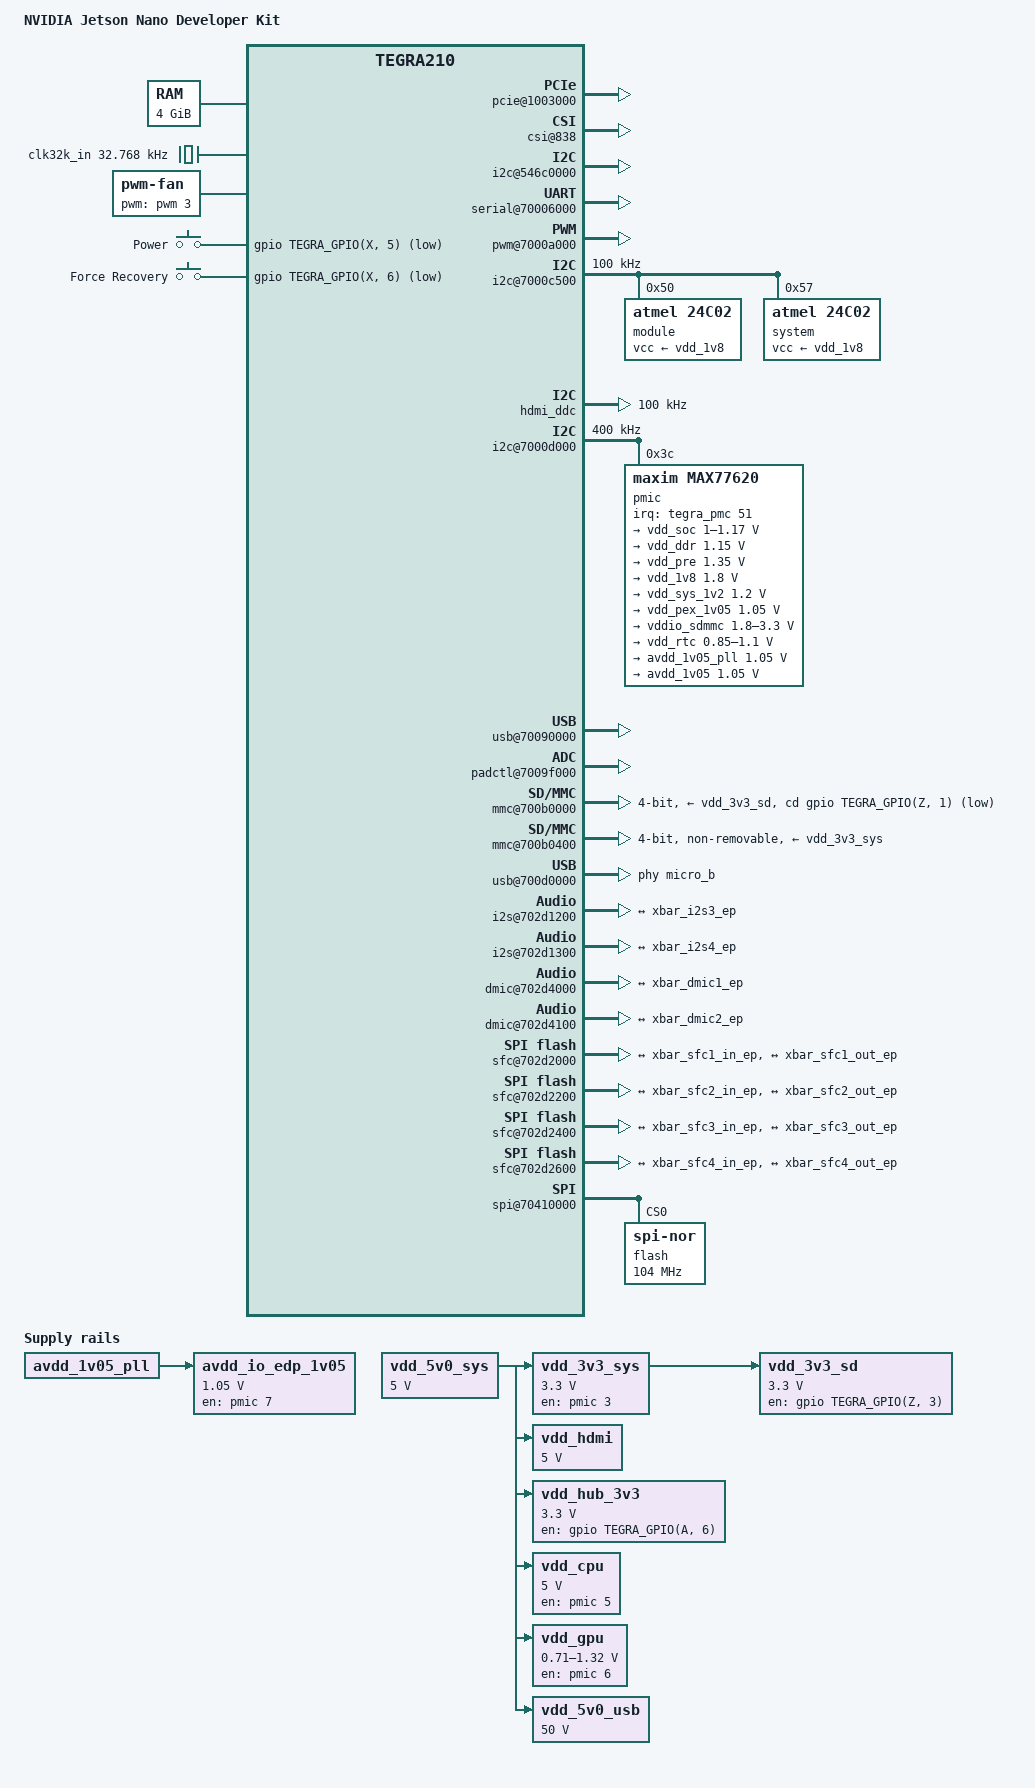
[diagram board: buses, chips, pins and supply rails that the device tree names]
// SPDX-License-Identifier: GPL-2.0
/dts-v1/;

#include <dt-bindings/input/gpio-keys.h>
#include <dt-bindings/input/linux-event-codes.h>
#include <dt-bindings/mfd/max77620.h>

#include "tegra210.dtsi"

/ {
	model = "NVIDIA Jetson Nano Developer Kit";
	compatible = "nvidia,p3450-0000", "nvidia,tegra210";

	aliases {
		ethernet = "/pcie@1003000/pci@2,0/ethernet@0,0";
		rtc0 = "/i2c@7000d000/pmic@3c";
		rtc1 = "/rtc@7000e000";
		serial0 = &uarta;
	};

	chosen {
		stdout-path = "serial0:115200n8";
	};

	memory@80000000 {
		device_type = "memory";
		reg = <0x0 0x80000000 0x1 0x0>;
	};

	pcie@1003000 {
		status = "okay";

		hvddio-pex-supply = <&vdd_1v8>;
		dvddio-pex-supply = <&vdd_pex_1v05>;
		vddio-pex-ctl-supply = <&vdd_1v8>;

		pci@1,0 {
			phys = <&{/padctl@7009f000/pads/pcie/lanes/pcie-1}>,
			       <&{/padctl@7009f000/pads/pcie/lanes/pcie-2}>,
			       <&{/padctl@7009f000/pads/pcie/lanes/pcie-3}>,
			       <&{/padctl@7009f000/pads/pcie/lanes/pcie-4}>;
			phy-names = "pcie-0", "pcie-1", "pcie-2", "pcie-3";
			nvidia,num-lanes = <4>;
			status = "okay";
		};

		pci@2,0 {
			phys = <&{/padctl@7009f000/pads/pcie/lanes/pcie-0}>;
			phy-names = "pcie-0";
			status = "okay";

			ethernet@0,0 {
				reg = <0x000000 0 0 0 0>;
				local-mac-address = [ 00 00 00 00 00 00 ];
			};
		};
	};

	host1x@50000000 {
		dpaux@54040000 {
			status = "okay";
		};

		vi@54080000 {
			status = "okay";

			avdd-dsi-csi-supply = <&vdd_sys_1v2>;

			csi@838 {
				status = "okay";
			};
		};

		sor@54540000 {
			status = "okay";

			avdd-io-hdmi-dp-supply = <&avdd_io_edp_1v05>;
			vdd-hdmi-dp-pll-supply = <&vdd_1v8>;

			nvidia,xbar-cfg = <2 1 0 3 4>;
			nvidia,dpaux = <&dpaux>;
		};

		sor@54580000 {
			status = "okay";

			avdd-io-hdmi-dp-supply = <&avdd_1v05>;
			vdd-hdmi-dp-pll-supply = <&vdd_1v8>;
			hdmi-supply = <&vdd_hdmi>;

			nvidia,ddc-i2c-bus = <&hdmi_ddc>;
			nvidia,hpd-gpio = <&gpio TEGRA_GPIO(CC, 1)
					   GPIO_ACTIVE_LOW>;
			nvidia,xbar-cfg = <0 1 2 3 4>;
		};

		dpaux@545c0000 {
			status = "okay";
		};

		i2c@546c0000 {
			status = "okay";
		};
	};

	gpu@57000000 {
		vdd-supply = <&vdd_gpu>;
		status = "okay";
	};

	pinmux@700008d4 {
		dvfs_pwm_active_state: dvfs_pwm_active {
			dvfs_pwm_pbb1 {
				nvidia,pins = "dvfs_pwm_pbb1";
				nvidia,tristate = <TEGRA_PIN_DISABLE>;
			};
		};

		dvfs_pwm_inactive_state: dvfs_pwm_inactive {
			dvfs_pwm_pbb1 {
				nvidia,pins = "dvfs_pwm_pbb1";
				nvidia,tristate = <TEGRA_PIN_ENABLE>;
			};
		};
	};

	/* debug port */
	serial@70006000 {
		status = "okay";
	};

	pwm@7000a000 {
		status = "okay";
	};

	i2c@7000c500 {
		status = "okay";
		clock-frequency = <100000>;

		eeprom@50 {
			compatible = "atmel,24c02";
			reg = <0x50>;

			label = "module";
			vcc-supply = <&vdd_1v8>;
			address-width = <8>;
			pagesize = <8>;
			size = <256>;
			read-only;
		};

		eeprom@57 {
			compatible = "atmel,24c02";
			reg = <0x57>;

			label = "system";
			vcc-supply = <&vdd_1v8>;
			address-width = <8>;
			pagesize = <8>;
			size = <256>;
			read-only;
		};
	};

	hdmi_ddc: i2c@7000c700 {
		status = "okay";
		clock-frequency = <100000>;
	};

	i2c@7000d000 {
		status = "okay";
		clock-frequency = <400000>;

		pmic: pmic@3c {
			compatible = "maxim,max77620";
			reg = <0x3c>;
			interrupt-parent = <&tegra_pmc>;
			interrupts = <51 IRQ_TYPE_LEVEL_LOW>;

			#interrupt-cells = <2>;
			interrupt-controller;

			#gpio-cells = <2>;
			gpio-controller;

			pinctrl-names = "default";
			pinctrl-0 = <&max77620_default>;

			max77620_default: pinmux {
				gpio0 {
					pins = "gpio0";
					function = "gpio";
				};

				gpio1 {
					pins = "gpio1";
					function = "fps-out";
					drive-push-pull = <1>;
					maxim,active-fps-source = <MAX77620_FPS_SRC_NONE>;
					maxim,active-fps-power-up-slot = <0>;
					maxim,active-fps-power-down-slot = <7>;
				};

				gpio2 {
					pins = "gpio2";
					function = "fps-out";
					drive-open-drain = <1>;
					maxim,active-fps-source = <MAX77620_FPS_SRC_0>;
					maxim,active-fps-power-up-slot = <0>;
					maxim,active-fps-power-down-slot = <7>;
				};

				gpio3 {
					pins = "gpio3";
					function = "fps-out";
					drive-open-drain = <1>;
					maxim,active-fps-source = <MAX77620_FPS_SRC_0>;
					maxim,active-fps-power-up-slot = <4>;
					maxim,active-fps-power-down-slot = <3>;
				};

				gpio4 {
					pins = "gpio4";
					function = "32k-out1";
				};

				gpio5_6_7 {
					pins = "gpio5", "gpio6", "gpio7";
					function = "gpio";
					drive-push-pull = <1>;
				};
			};

			fps {
				fps0 {
					maxim,fps-event-source = <MAX77620_FPS_EVENT_SRC_EN0>;
					maxim,suspend-fps-time-period-us = <5120>;
				};

				fps1 {
					maxim,fps-event-source = <MAX77620_FPS_EVENT_SRC_EN1>;
					maxim,suspend-fps-time-period-us = <5120>;
				};

				fps2 {
					maxim,fps-event-source = <MAX77620_FPS_EVENT_SRC_EN0>;
				};
			};

			regulators {
				in-ldo0-1-supply = <&vdd_pre>;
				in-ldo2-supply = <&vdd_3v3_sys>;
				in-ldo3-5-supply = <&vdd_1v8>;
				in-ldo4-6-supply = <&vdd_5v0_sys>;
				in-ldo7-8-supply = <&vdd_pre>;
				in-sd0-supply = <&vdd_5v0_sys>;
				in-sd1-supply = <&vdd_5v0_sys>;
				in-sd2-supply = <&vdd_5v0_sys>;
				in-sd3-supply = <&vdd_5v0_sys>;

				vdd_soc: sd0 {
					regulator-name = "VDD_SOC";
					regulator-min-microvolt = <1000000>;
					regulator-max-microvolt = <1170000>;
					regulator-enable-ramp-delay = <146>;
					regulator-ramp-delay = <27500>;
					regulator-ramp-delay-scale = <300>;
					regulator-always-on;
					regulator-boot-on;

					maxim,active-fps-source = <MAX77620_FPS_SRC_1>;
					maxim,active-fps-power-up-slot = <1>;
					maxim,active-fps-power-down-slot = <6>;
				};

				vdd_ddr: sd1 {
					regulator-name = "VDD_DDR_1V1_PMIC";
					regulator-min-microvolt = <1150000>;
					regulator-max-microvolt = <1150000>;
					regulator-enable-ramp-delay = <176>;
					regulator-ramp-delay = <27500>;
					regulator-ramp-delay-scale = <300>;
					regulator-always-on;
					regulator-boot-on;

					maxim,active-fps-source = <MAX77620_FPS_SRC_0>;
					maxim,active-fps-power-up-slot = <5>;
					maxim,active-fps-power-down-slot = <2>;
				};

				vdd_pre: sd2 {
					regulator-name = "VDD_PRE_REG_1V35";
					regulator-min-microvolt = <1350000>;
					regulator-max-microvolt = <1350000>;
					regulator-enable-ramp-delay = <176>;
					regulator-ramp-delay = <27500>;
					regulator-ramp-delay-scale = <350>;
					regulator-always-on;
					regulator-boot-on;

					maxim,active-fps-source = <MAX77620_FPS_SRC_1>;
					maxim,active-fps-power-up-slot = <2>;
					maxim,active-fps-power-down-slot = <5>;
				};

				vdd_1v8: sd3 {
					regulator-name = "VDD_1V8";
					regulator-min-microvolt = <1800000>;
					regulator-max-microvolt = <1800000>;
					regulator-enable-ramp-delay = <242>;
					regulator-ramp-delay = <27500>;
					regulator-ramp-delay-scale = <360>;
					regulator-always-on;
					regulator-boot-on;

					maxim,active-fps-source = <MAX77620_FPS_SRC_0>;
					maxim,active-fps-power-up-slot = <3>;
					maxim,active-fps-power-down-slot = <4>;
				};

				vdd_sys_1v2: ldo0 {
					regulator-name = "AVDD_SYS_1V2";
					regulator-min-microvolt = <1200000>;
					regulator-max-microvolt = <1200000>;
					regulator-enable-ramp-delay = <26>;
					regulator-ramp-delay = <100000>;
					regulator-ramp-delay-scale = <200>;
					regulator-always-on;
					regulator-boot-on;

					maxim,active-fps-source = <MAX77620_FPS_SRC_NONE>;
					maxim,active-fps-power-up-slot = <0>;
					maxim,active-fps-power-down-slot = <7>;
				};

				vdd_pex_1v05: ldo1 {
					regulator-name = "VDD_PEX_1V05";
					regulator-min-microvolt = <1050000>;
					regulator-max-microvolt = <1050000>;
					regulator-enable-ramp-delay = <22>;
					regulator-ramp-delay = <100000>;
					regulator-ramp-delay-scale = <200>;

					maxim,active-fps-source = <MAX77620_FPS_SRC_NONE>;
					maxim,active-fps-power-up-slot = <0>;
					maxim,active-fps-power-down-slot = <7>;
				};

				vddio_sdmmc: ldo2 {
					regulator-name = "VDDIO_SDMMC";
					regulator-min-microvolt = <1800000>;
					regulator-max-microvolt = <3300000>;
					regulator-enable-ramp-delay = <62>;
					regulator-ramp-delay = <100000>;
					regulator-ramp-delay-scale = <200>;

					maxim,active-fps-source = <MAX77620_FPS_SRC_NONE>;
					maxim,active-fps-power-up-slot = <0>;
					maxim,active-fps-power-down-slot = <7>;
				};

				ldo3 {
					status = "disabled";
				};

				vdd_rtc: ldo4 {
					regulator-name = "VDD_RTC";
					regulator-min-microvolt = <850000>;
					regulator-max-microvolt = <1100000>;
					regulator-enable-ramp-delay = <22>;
					regulator-ramp-delay = <100000>;
					regulator-ramp-delay-scale = <200>;
					regulator-disable-active-discharge;
					regulator-always-on;
					regulator-boot-on;

					maxim,active-fps-source = <MAX77620_FPS_SRC_0>;
					maxim,active-fps-power-up-slot = <1>;
					maxim,active-fps-power-down-slot = <6>;
				};

				ldo5 {
					status = "disabled";
				};

				ldo6 {
					status = "disabled";
				};

				avdd_1v05_pll: ldo7 {
					regulator-name = "AVDD_1V05_PLL";
					regulator-min-microvolt = <1050000>;
					regulator-max-microvolt = <1050000>;
					regulator-enable-ramp-delay = <24>;
					regulator-ramp-delay = <100000>;
					regulator-ramp-delay-scale = <200>;

					maxim,active-fps-source = <MAX77620_FPS_SRC_1>;
					maxim,active-fps-power-up-slot = <3>;
					maxim,active-fps-power-down-slot = <4>;
				};

				avdd_1v05: ldo8 {
					regulator-name = "AVDD_SATA_HDMI_DP_1V05";
					regulator-min-microvolt = <1050000>;
					regulator-max-microvolt = <1050000>;
					regulator-enable-ramp-delay = <22>;
					regulator-ramp-delay = <100000>;
					regulator-ramp-delay-scale = <200>;

					maxim,active-fps-source = <MAX77620_FPS_SRC_1>;
					maxim,active-fps-power-up-slot = <6>;
					maxim,active-fps-power-down-slot = <1>;
				};
			};
		};
	};

	pmc@7000e400 {
		nvidia,invert-interrupt;
		nvidia,suspend-mode = <0>;
		nvidia,cpu-pwr-good-time = <0>;
		nvidia,cpu-pwr-off-time = <0>;
		nvidia,core-pwr-good-time = <4587 3876>;
		nvidia,core-pwr-off-time = <39065>;
		nvidia,core-power-req-active-high;
		nvidia,sys-clock-req-active-high;
	};

	hda@70030000 {
		nvidia,model = "NVIDIA Jetson Nano HDA";

		status = "okay";
	};

	usb@70090000 {
		phys = <&{/padctl@7009f000/pads/usb2/lanes/usb2-0}>,
		       <&{/padctl@7009f000/pads/usb2/lanes/usb2-1}>,
		       <&{/padctl@7009f000/pads/usb2/lanes/usb2-2}>,
		       <&{/padctl@7009f000/pads/pcie/lanes/pcie-6}>;
		phy-names = "usb2-0", "usb2-1", "usb2-2", "usb3-0";

		avdd-usb-supply = <&vdd_3v3_sys>;
		dvddio-pex-supply = <&vdd_pex_1v05>;
		hvddio-pex-supply = <&vdd_1v8>;

		status = "okay";
	};

	padctl@7009f000 {
		status = "okay";

		avdd-pll-utmip-supply = <&vdd_1v8>;
		avdd-pll-uerefe-supply = <&vdd_pex_1v05>;
		dvdd-pex-pll-supply = <&vdd_pex_1v05>;
		hvdd-pex-pll-e-supply = <&vdd_1v8>;

		pads {
			usb2 {
				status = "okay";

				lanes {
					micro_b: usb2-0 {
						nvidia,function = "xusb";
						status = "okay";
					};

					usb2-1 {
						nvidia,function = "xusb";
						status = "okay";
					};

					usb2-2 {
						nvidia,function = "xusb";
						status = "okay";
					};
				};
			};

			pcie {
				status = "okay";

				lanes {
					pcie-0 {
						nvidia,function = "pcie-x1";
						status = "okay";
					};

					pcie-1 {
						nvidia,function = "pcie-x4";
						status = "okay";
					};

					pcie-2 {
						nvidia,function = "pcie-x4";
						status = "okay";
					};

					pcie-3 {
						nvidia,function = "pcie-x4";
						status = "okay";
					};

					pcie-4 {
						nvidia,function = "pcie-x4";
						status = "okay";
					};

					pcie-5 {
						nvidia,function = "usb3-ss";
						status = "okay";
					};

					pcie-6 {
						nvidia,function = "usb3-ss";
						status = "okay";
					};
				};
			};
		};

		ports {
			usb2-0 {
				status = "okay";
				mode = "peripheral";
				usb-role-switch;

				vbus-supply = <&vdd_5v0_usb>;

				connector {
					compatible = "gpio-usb-b-connector",
						     "usb-b-connector";
					label = "micro-USB";
					type = "micro";
					vbus-gpios = <&gpio TEGRA_GPIO(CC, 4)
						      GPIO_ACTIVE_LOW>;
				};
			};

			usb2-1 {
				status = "okay";
				mode = "host";
			};

			usb2-2 {
				status = "okay";
				mode = "host";
			};

			usb3-0 {
				status = "okay";
				nvidia,usb2-companion = <1>;
				vbus-supply = <&vdd_hub_3v3>;
			};
		};
	};

	mmc@700b0000 {
		status = "okay";
		bus-width = <4>;

		cd-gpios = <&gpio TEGRA_GPIO(Z, 1) GPIO_ACTIVE_LOW>;
		disable-wp;

		vqmmc-supply = <&vddio_sdmmc>;
		vmmc-supply = <&vdd_3v3_sd>;
	};

	mmc@700b0400 {
		status = "okay";
		bus-width = <4>;

		vqmmc-supply = <&vdd_1v8>;
		vmmc-supply = <&vdd_3v3_sys>;

		non-removable;
		cap-sdio-irq;
		keep-power-in-suspend;
		wakeup-source;
	};

	usb@700d0000 {
		status = "okay";
		phys = <&micro_b>;
		phy-names = "usb2-0";
		avddio-usb-supply = <&vdd_3v3_sys>;
		hvdd-usb-supply = <&vdd_1v8>;
	};

	clock@70110000 {
		status = "okay";

		nvidia,cf = <6>;
		nvidia,ci = <0>;
		nvidia,cg = <2>;
		nvidia,droop-ctrl = <0x00000f00>;
		nvidia,force-mode = <1>;
		nvidia,sample-rate = <25000>;

		nvidia,pwm-min-microvolts = <708000>;
		nvidia,pwm-period-nanoseconds = <2500>; /* 2.5us */
		nvidia,pwm-to-pmic;
		nvidia,pwm-tristate-microvolts = <1000000>;
		nvidia,pwm-voltage-step-microvolts = <19200>;

		pinctrl-names = "dvfs_pwm_enable", "dvfs_pwm_disable";
		pinctrl-0 = <&dvfs_pwm_active_state>;
		pinctrl-1 = <&dvfs_pwm_inactive_state>;
	};

	aconnect@702c0000 {
		status = "okay";

		dma-controller@702e2000 {
			status = "okay";
		};

		interrupt-controller@702f9000 {
			status = "okay";
		};

		ahub@702d0800 {
			status = "okay";

			admaif@702d0000 {
				status = "okay";
			};

			i2s@702d1200 {
				status = "okay";

				ports {
					#address-cells = <1>;
					#size-cells = <0>;

					port@0 {
						reg = <0>;

						i2s3_cif_ep: endpoint {
							remote-endpoint = <&xbar_i2s3_ep>;
						};
					};

					i2s3_port: port@1 {
						reg = <1>;

						i2s3_dap_ep: endpoint {
							dai-format = "i2s";
							/* Placeholder for external Codec */
						};
					};
				};
			};

			i2s@702d1300 {
				status = "okay";

				ports {
					#address-cells = <1>;
					#size-cells = <0>;

					port@0 {
						reg = <0>;

						i2s4_cif_ep: endpoint {
							remote-endpoint = <&xbar_i2s4_ep>;
						};
					};

					i2s4_port: port@1 {
						reg = <1>;

						i2s4_dap_ep: endpoint {
							dai-format = "i2s";
							/* Placeholder for external Codec */
						};
					};
				};
			};

			dmic@702d4000 {
				status = "okay";

				ports {
					#address-cells = <1>;
					#size-cells = <0>;

					port@0 {
						reg = <0>;

						dmic1_cif_ep: endpoint {
							remote-endpoint = <&xbar_dmic1_ep>;
						};
					};

					dmic1_port: port@1 {
						reg = <1>;

						dmic1_dap_ep: endpoint {
							/* Placeholder for external Codec */
						};
					};
				};
			};

			dmic@702d4100 {
				status = "okay";

				ports {
					#address-cells = <1>;
					#size-cells = <0>;

					port@0 {
						reg = <0>;

						dmic2_cif_ep: endpoint {
							remote-endpoint = <&xbar_dmic2_ep>;
						};
					};

					dmic2_port: port@1 {
						reg = <1>;

						dmic2_dap_ep: endpoint {
							/* Placeholder for external Codec */
						};
					};
				};
			};

			sfc@702d2000 {
				status = "okay";

				ports {
					#address-cells = <1>;
					#size-cells = <0>;

					port@0 {
						reg = <0>;

						sfc1_cif_in_ep: endpoint {
							remote-endpoint = <&xbar_sfc1_in_ep>;
						};
					};

					sfc1_out_port: port@1 {
						reg = <1>;

						sfc1_cif_out_ep: endpoint {
							remote-endpoint = <&xbar_sfc1_out_ep>;
						};
					};
				};
			};

			sfc@702d2200 {
				status = "okay";

				ports {
					#address-cells = <1>;
					#size-cells = <0>;

					port@0 {
						reg = <0>;

						sfc2_cif_in_ep: endpoint {
							remote-endpoint = <&xbar_sfc2_in_ep>;
						};
					};

					sfc2_out_port: port@1 {
						reg = <1>;

						sfc2_cif_out_ep: endpoint {
							remote-endpoint = <&xbar_sfc2_out_ep>;
						};
					};
				};
			};

			sfc@702d2400 {
				status = "okay";

				ports {
					#address-cells = <1>;
					#size-cells = <0>;

					port@0 {
						reg = <0>;

						sfc3_cif_in_ep: endpoint {
							remote-endpoint = <&xbar_sfc3_in_ep>;
						};
					};

					sfc3_out_port: port@1 {
						reg = <1>;

						sfc3_cif_out_ep: endpoint {
							remote-endpoint = <&xbar_sfc3_out_ep>;
						};
					};
				};
			};

			sfc@702d2600 {
				status = "okay";

				ports {
					#address-cells = <1>;
					#size-cells = <0>;

					port@0 {
						reg = <0>;

						sfc4_cif_in_ep: endpoint {
							remote-endpoint = <&xbar_sfc4_in_ep>;
						};
					};

					sfc4_out_port: port@1 {
						reg = <1>;

						sfc4_cif_out_ep: endpoint {
							remote-endpoint = <&xbar_sfc4_out_ep>;
						};
					};
				};
			};

			mvc@702da000 {
				status = "okay";

				ports {
					#address-cells = <1>;
					#size-cells = <0>;

					port@0 {
						reg = <0>;

						mvc1_cif_in_ep: endpoint {
							remote-endpoint = <&xbar_mvc1_in_ep>;
						};
					};

					mvc1_out_port: port@1 {
						reg = <1>;

						mvc1_cif_out_ep: endpoint {
							remote-endpoint = <&xbar_mvc1_out_ep>;
						};
					};
				};
			};

			mvc@702da200 {
				status = "okay";

				ports {
					#address-cells = <1>;
					#size-cells = <0>;

					port@0 {
						reg = <0>;

						mvc2_cif_in_ep: endpoint {
							remote-endpoint = <&xbar_mvc2_in_ep>;
						};
					};

					mvc2_out_port: port@1 {
						reg = <1>;

						mvc2_cif_out_ep: endpoint {
							remote-endpoint = <&xbar_mvc2_out_ep>;
						};
					};
				};
			};

			amx@702d3000 {
				status = "okay";

				ports {
					#address-cells = <1>;
					#size-cells = <0>;

					port@0 {
						reg = <0>;

						amx1_in1_ep: endpoint {
							remote-endpoint = <&xbar_amx1_in1_ep>;
						};
					};

					port@1 {
						reg = <1>;

						amx1_in2_ep: endpoint {
							remote-endpoint = <&xbar_amx1_in2_ep>;
						};
					};

					port@2 {
						reg = <2>;

						amx1_in3_ep: endpoint {
							remote-endpoint = <&xbar_amx1_in3_ep>;
						};
					};

					port@3 {
						reg = <3>;

						amx1_in4_ep: endpoint {
							remote-endpoint = <&xbar_amx1_in4_ep>;
						};
					};

					amx1_out_port: port@4 {
						reg = <4>;

						amx1_out_ep: endpoint {
							remote-endpoint = <&xbar_amx1_out_ep>;
						};
					};
				};
			};

			amx@702d3100 {
				status = "okay";

				ports {
					#address-cells = <1>;
					#size-cells = <0>;

					port@0 {
						reg = <0>;

						amx2_in1_ep: endpoint {
							remote-endpoint = <&xbar_amx2_in1_ep>;
						};
					};

					port@1 {
						reg = <1>;

						amx2_in2_ep: endpoint {
							remote-endpoint = <&xbar_amx2_in2_ep>;
						};
					};

					amx2_in3_port: port@2 {
						reg = <2>;

						amx2_in3_ep: endpoint {
							remote-endpoint = <&xbar_amx2_in3_ep>;
						};
					};

					amx2_in4_port: port@3 {
						reg = <3>;

						amx2_in4_ep: endpoint {
							remote-endpoint = <&xbar_amx2_in4_ep>;
						};
					};

					amx2_out_port: port@4 {
						reg = <4>;

						amx2_out_ep: endpoint {
							remote-endpoint = <&xbar_amx2_out_ep>;
						};
					};
				};
			};

			adx@702d3800 {
				status = "okay";

				ports {
					#address-cells = <1>;
					#size-cells = <0>;

					port@0 {
						reg = <0>;

						adx1_in_ep: endpoint {
							remote-endpoint = <&xbar_adx1_in_ep>;
						};
					};

					adx1_out1_port: port@1 {
						reg = <1>;

						adx1_out1_ep: endpoint {
							remote-endpoint = <&xbar_adx1_out1_ep>;
						};
					};

					adx1_out2_port: port@2 {
						reg = <2>;

						adx1_out2_ep: endpoint {
							remote-endpoint = <&xbar_adx1_out2_ep>;
						};
					};

					adx1_out3_port: port@3 {
						reg = <3>;

						adx1_out3_ep: endpoint {
							remote-endpoint = <&xbar_adx1_out3_ep>;
						};
					};

					adx1_out4_port: port@4 {
						reg = <4>;

						adx1_out4_ep: endpoint {
							remote-endpoint = <&xbar_adx1_out4_ep>;
						};
					};
				};
			};

			adx@702d3900 {
				status = "okay";

				ports {
					#address-cells = <1>;
					#size-cells = <0>;

					port@0 {
						reg = <0>;

						adx2_in_ep: endpoint {
							remote-endpoint = <&xbar_adx2_in_ep>;
						};
					};

					adx2_out1_port: port@1 {
						reg = <1>;

						adx2_out1_ep: endpoint {
							remote-endpoint = <&xbar_adx2_out1_ep>;
						};
					};

					adx2_out2_port: port@2 {
						reg = <2>;

						adx2_out2_ep: endpoint {
							remote-endpoint = <&xbar_adx2_out2_ep>;
						};
					};

					adx2_out3_port: port@3 {
						reg = <3>;

						adx2_out3_ep: endpoint {
							remote-endpoint = <&xbar_adx2_out3_ep>;
						};
					};

					adx2_out4_port: port@4 {
						reg = <4>;

						adx2_out4_ep: endpoint {
							remote-endpoint = <&xbar_adx2_out4_ep>;
						};
					};
				};
			};

			amixer@702dbb00 {
				status = "okay";

				ports {
					#address-cells = <1>;
					#size-cells = <0>;

					port@0 {
						reg = <0x0>;

						mixer_in1_ep: endpoint {
							remote-endpoint = <&xbar_mixer_in1_ep>;
						};
					};

					port@1 {
						reg = <0x1>;

						mixer_in2_ep: endpoint {
							remote-endpoint = <&xbar_mixer_in2_ep>;
						};
					};

					port@2 {
						reg = <0x2>;

						mixer_in3_ep: endpoint {
							remote-endpoint = <&xbar_mixer_in3_ep>;
						};
					};

					port@3 {
						reg = <0x3>;

						mixer_in4_ep: endpoint {
							remote-endpoint = <&xbar_mixer_in4_ep>;
						};
					};

					port@4 {
						reg = <0x4>;

						mixer_in5_ep: endpoint {
							remote-endpoint = <&xbar_mixer_in5_ep>;
						};
					};

					port@5 {
						reg = <0x5>;

						mixer_in6_ep: endpoint {
							remote-endpoint = <&xbar_mixer_in6_ep>;
						};
					};

					port@6 {
						reg = <0x6>;

						mixer_in7_ep: endpoint {
							remote-endpoint = <&xbar_mixer_in7_ep>;
						};
					};

					port@7 {
						reg = <0x7>;

						mixer_in8_ep: endpoint {
							remote-endpoint = <&xbar_mixer_in8_ep>;
						};
					};

					port@8 {
						reg = <0x8>;

						mixer_in9_ep: endpoint {
							remote-endpoint = <&xbar_mixer_in9_ep>;
						};
					};

					port@9 {
						reg = <0x9>;

						mixer_in10_ep: endpoint {
							remote-endpoint = <&xbar_mixer_in10_ep>;
						};
					};

					mixer_out1_port: port@a {
						reg = <0xa>;

						mixer_out1_ep: endpoint {
							remote-endpoint = <&xbar_mixer_out1_ep>;
						};
					};

					mixer_out2_port: port@b {
						reg = <0xb>;

						mixer_out2_ep: endpoint {
							remote-endpoint = <&xbar_mixer_out2_ep>;
						};
					};

					mixer_out3_port: port@c {
						reg = <0xc>;

						mixer_out3_ep: endpoint {
							remote-endpoint = <&xbar_mixer_out3_ep>;
						};
					};

					mixer_out4_port: port@d {
						reg = <0xd>;

						mixer_out4_ep: endpoint {
							remote-endpoint = <&xbar_mixer_out4_ep>;
						};
					};

					mixer_out5_port: port@e {
						reg = <0xe>;

						mixer_out5_ep: endpoint {
							remote-endpoint = <&xbar_mixer_out5_ep>;
						};
					};
				};
			};

			ports {
				xbar_i2s3_port: port@c {
					reg = <0xc>;

					xbar_i2s3_ep: endpoint {
						remote-endpoint = <&i2s3_cif_ep>;
					};
				};

				xbar_i2s4_port: port@d {
					reg = <0xd>;

					xbar_i2s4_ep: endpoint {
						remote-endpoint = <&i2s4_cif_ep>;
					};
				};

				xbar_dmic1_port: port@f {
					reg = <0xf>;

					xbar_dmic1_ep: endpoint {
						remote-endpoint = <&dmic1_cif_ep>;
					};
				};

				xbar_dmic2_port: port@10 {
					reg = <0x10>;

					xbar_dmic2_ep: endpoint {
						remote-endpoint = <&dmic2_cif_ep>;
					};
				};

				xbar_sfc1_in_port: port@12 {
					reg = <0x12>;

					xbar_sfc1_in_ep: endpoint {
						remote-endpoint = <&sfc1_cif_in_ep>;
					};
				};

				port@13 {
					reg = <0x13>;

					xbar_sfc1_out_ep: endpoint {
						remote-endpoint = <&sfc1_cif_out_ep>;
					};
				};

				xbar_sfc2_in_port: port@14 {
					reg = <0x14>;

					xbar_sfc2_in_ep: endpoint {
						remote-endpoint = <&sfc2_cif_in_ep>;
					};
				};

				port@15 {
					reg = <0x15>;

					xbar_sfc2_out_ep: endpoint {
						remote-endpoint = <&sfc2_cif_out_ep>;
					};
				};

				xbar_sfc3_in_port: port@16 {
					reg = <0x16>;

					xbar_sfc3_in_ep: endpoint {
						remote-endpoint = <&sfc3_cif_in_ep>;
					};
				};

				port@17 {
					reg = <0x17>;

					xbar_sfc3_out_ep: endpoint {
						remote-endpoint = <&sfc3_cif_out_ep>;
					};
				};

				xbar_sfc4_in_port: port@18 {
					reg = <0x18>;

					xbar_sfc4_in_ep: endpoint {
						remote-endpoint = <&sfc4_cif_in_ep>;
					};
				};

				port@19 {
					reg = <0x19>;

					xbar_sfc4_out_ep: endpoint {
						remote-endpoint = <&sfc4_cif_out_ep>;
					};
				};

				xbar_mvc1_in_port: port@1a {
					reg = <0x1a>;

					xbar_mvc1_in_ep: endpoint {
						remote-endpoint = <&mvc1_cif_in_ep>;
					};
				};

				port@1b {
					reg = <0x1b>;

					xbar_mvc1_out_ep: endpoint {
						remote-endpoint = <&mvc1_cif_out_ep>;
					};
				};

				xbar_mvc2_in_port: port@1c {
					reg = <0x1c>;

					xbar_mvc2_in_ep: endpoint {
						remote-endpoint = <&mvc2_cif_in_ep>;
					};
				};

				port@1d {
					reg = <0x1d>;

					xbar_mvc2_out_ep: endpoint {
						remote-endpoint = <&mvc2_cif_out_ep>;
					};
				};

				xbar_amx1_in1_port: port@1e {
					reg = <0x1e>;

					xbar_amx1_in1_ep: endpoint {
						remote-endpoint = <&amx1_in1_ep>;
					};
				};

				xbar_amx1_in2_port: port@1f {
					reg = <0x1f>;

					xbar_amx1_in2_ep: endpoint {
						remote-endpoint = <&amx1_in2_ep>;
					};
				};

				xbar_amx1_in3_port: port@20 {
					reg = <0x20>;

					xbar_amx1_in3_ep: endpoint {
						remote-endpoint = <&amx1_in3_ep>;
					};
				};

				xbar_amx1_in4_port: port@21 {
					reg = <0x21>;

					xbar_amx1_in4_ep: endpoint {
						remote-endpoint = <&amx1_in4_ep>;
					};
				};

				port@22 {
					reg = <0x22>;

					xbar_amx1_out_ep: endpoint {
						remote-endpoint = <&amx1_out_ep>;
					};
				};

				xbar_amx2_in1_port: port@23 {
					reg = <0x23>;

					xbar_amx2_in1_ep: endpoint {
						remote-endpoint = <&amx2_in1_ep>;
					};
				};

				xbar_amx2_in2_port: port@24 {
					reg = <0x24>;

					xbar_amx2_in2_ep: endpoint {
						remote-endpoint = <&amx2_in2_ep>;
					};
				};

				xbar_amx2_in3_port: port@25 {
					reg = <0x25>;

					xbar_amx2_in3_ep: endpoint {
						remote-endpoint = <&amx2_in3_ep>;
					};
				};

				xbar_amx2_in4_port: port@26 {
					reg = <0x26>;

					xbar_amx2_in4_ep: endpoint {
						remote-endpoint = <&amx2_in4_ep>;
					};
				};

				port@27 {
					reg = <0x27>;

					xbar_amx2_out_ep: endpoint {
						remote-endpoint = <&amx2_out_ep>;
					};
				};

				xbar_adx1_in_port: port@28 {
					reg = <0x28>;

					xbar_adx1_in_ep: endpoint {
						remote-endpoint = <&adx1_in_ep>;
					};
				};

				port@29 {
					reg = <0x29>;

					xbar_adx1_out1_ep: endpoint {
						remote-endpoint = <&adx1_out1_ep>;
					};
				};

				port@2a {
					reg = <0x2a>;

					xbar_adx1_out2_ep: endpoint {
						remote-endpoint = <&adx1_out2_ep>;
					};
				};

				port@2b {
					reg = <0x2b>;

					xbar_adx1_out3_ep: endpoint {
						remote-endpoint = <&adx1_out3_ep>;
					};
				};

				port@2c {
					reg = <0x2c>;

					xbar_adx1_out4_ep: endpoint {
						remote-endpoint = <&adx1_out4_ep>;
					};
				};

				xbar_adx2_in_port: port@2d {
					reg = <0x2d>;

					xbar_adx2_in_ep: endpoint {
						remote-endpoint = <&adx2_in_ep>;
					};
				};

				port@2e {
					reg = <0x2e>;

					xbar_adx2_out1_ep: endpoint {
						remote-endpoint = <&adx2_out1_ep>;
					};
				};

				port@2f {
					reg = <0x2f>;

					xbar_adx2_out2_ep: endpoint {
						remote-endpoint = <&adx2_out2_ep>;
					};
				};

				port@30 {
					reg = <0x30>;

					xbar_adx2_out3_ep: endpoint {
						remote-endpoint = <&adx2_out3_ep>;
					};
				};

				port@31 {
					reg = <0x31>;

					xbar_adx2_out4_ep: endpoint {
						remote-endpoint = <&adx2_out4_ep>;
					};
				};

				xbar_mixer_in1_port: port@32 {
					reg = <0x32>;

					xbar_mixer_in1_ep: endpoint {
						remote-endpoint = <&mixer_in1_ep>;
					};
				};

				xbar_mixer_in2_port: port@33 {
					reg = <0x33>;

					xbar_mixer_in2_ep: endpoint {
						remote-endpoint = <&mixer_in2_ep>;
					};
				};

				xbar_mixer_in3_port: port@34 {
					reg = <0x34>;

					xbar_mixer_in3_ep: endpoint {
						remote-endpoint = <&mixer_in3_ep>;
					};
				};

				xbar_mixer_in4_port: port@35 {
					reg = <0x35>;

					xbar_mixer_in4_ep: endpoint {
						remote-endpoint = <&mixer_in4_ep>;
					};
				};

				xbar_mixer_in5_port: port@36 {
					reg = <0x36>;

					xbar_mixer_in5_ep: endpoint {
						remote-endpoint = <&mixer_in5_ep>;
					};
				};

				xbar_mixer_in6_port: port@37 {
					reg = <0x37>;

					xbar_mixer_in6_ep: endpoint {
						remote-endpoint = <&mixer_in6_ep>;
					};
				};

				xbar_mixer_in7_port: port@38 {
					reg = <0x38>;

					xbar_mixer_in7_ep: endpoint {
						remote-endpoint = <&mixer_in7_ep>;
					};
				};

				xbar_mixer_in8_port: port@39 {
					reg = <0x39>;

					xbar_mixer_in8_ep: endpoint {
						remote-endpoint = <&mixer_in8_ep>;
					};
				};

				xbar_mixer_in9_port: port@3a {
					reg = <0x3a>;

					xbar_mixer_in9_ep: endpoint {
						remote-endpoint = <&mixer_in9_ep>;
					};
				};

				xbar_mixer_in10_port: port@3b {
					reg = <0x3b>;

					xbar_mixer_in10_ep: endpoint {
						remote-endpoint = <&mixer_in10_ep>;
					};
				};

				port@3c {
					reg = <0x3c>;

					xbar_mixer_out1_ep: endpoint {
						remote-endpoint = <&mixer_out1_ep>;
					};
				};

				port@3d {
					reg = <0x3d>;

					xbar_mixer_out2_ep: endpoint {
						remote-endpoint = <&mixer_out2_ep>;
					};
				};

				port@3e {
					reg = <0x3e>;

					xbar_mixer_out3_ep: endpoint {
						remote-endpoint = <&mixer_out3_ep>;
					};
				};

				port@3f {
					reg = <0x3f>;

					xbar_mixer_out4_ep: endpoint {
						remote-endpoint = <&mixer_out4_ep>;
					};
				};

				port@40 {
					reg = <0x40>;

					xbar_mixer_out5_ep: endpoint {
						remote-endpoint = <&mixer_out5_ep>;
					};
				};
			};
		};
	};

	spi@70410000 {
		status = "okay";

		flash@0 {
			compatible = "jedec,spi-nor";
			reg = <0>;
			spi-max-frequency = <104000000>;
			spi-tx-bus-width = <2>;
			spi-rx-bus-width = <2>;
		};
	};

	clk32k_in: clock-32k {
		compatible = "fixed-clock";
		clock-frequency = <32768>;
		#clock-cells = <0>;
	};

	cpus {
		cpu@0 {
			enable-method = "psci";
		};

		cpu@1 {
			enable-method = "psci";
		};

		cpu@2 {
			enable-method = "psci";
		};

		cpu@3 {
			enable-method = "psci";
		};

		idle-states {
			cpu-sleep {
				status = "okay";
			};
		};
	};

	fan: pwm-fan {
		compatible = "pwm-fan";
		pwms = <&pwm 3 45334>;

		cooling-levels = <0 64 128 255>;
		#cooling-cells = <2>;
	};

	thermal-zones {
		cpu-thermal {
			trips {
				cpu_trip_critical: critical {
					temperature = <96500>;
					hysteresis = <0>;
					type = "critical";
				};

				cpu_trip_hot: hot {
					temperature = <70000>;
					hysteresis = <2000>;
					type = "hot";
				};

				cpu_trip_active: active {
					temperature = <50000>;
					hysteresis = <2000>;
					type = "active";
				};

				cpu_trip_passive: passive {
					temperature = <30000>;
					hysteresis = <2000>;
					type = "passive";
				};
			};

			cooling-maps {
				cpu-critical {
					cooling-device = <&fan 3 3>;
					trip = <&cpu_trip_critical>;
				};

				cpu-hot {
					cooling-device = <&fan 2 2>;
					trip = <&cpu_trip_hot>;
				};

				cpu-active {
					cooling-device = <&fan 1 1>;
					trip = <&cpu_trip_active>;
				};

				cpu-passive {
					cooling-device = <&fan 0 0>;
					trip = <&cpu_trip_passive>;
				};
			};
		};
	};

	gpio-keys {
		compatible = "gpio-keys";

		power {
			label = "Power";
			gpios = <&gpio TEGRA_GPIO(X, 5) GPIO_ACTIVE_LOW>;
			linux,input-type = <EV_KEY>;
			linux,code = <KEY_POWER>;
			debounce-interval = <30>;
			wakeup-event-action = <EV_ACT_ASSERTED>;
			wakeup-source;
		};

		force-recovery {
			label = "Force Recovery";
			gpios = <&gpio TEGRA_GPIO(X, 6) GPIO_ACTIVE_LOW>;
			linux,input-type = <EV_KEY>;
			linux,code = <BTN_1>;
			debounce-interval = <30>;
		};
	};

	psci {
		compatible = "arm,psci-1.0";
		method = "smc";
	};

	vdd_5v0_sys: regulator-vdd-5v0-sys {
		compatible = "regulator-fixed";

		regulator-name = "VDD_5V0_SYS";
		regulator-min-microvolt = <5000000>;
		regulator-max-microvolt = <5000000>;
		regulator-always-on;
		regulator-boot-on;
	};

	vdd_3v3_sys: regulator-vdd-3v3-sys {
		compatible = "regulator-fixed";

		regulator-name = "VDD_3V3_SYS";
		regulator-min-microvolt = <3300000>;
		regulator-max-microvolt = <3300000>;
		regulator-enable-ramp-delay = <240>;
		regulator-always-on;
		regulator-boot-on;

		gpio = <&pmic 3 GPIO_ACTIVE_HIGH>;
		enable-active-high;

		vin-supply = <&vdd_5v0_sys>;
	};

	vdd_3v3_sd: regulator-vdd-3v3-sd {
		compatible = "regulator-fixed";

		regulator-name = "VDD_3V3_SD";
		regulator-min-microvolt = <3300000>;
		regulator-max-microvolt = <3300000>;

		gpio = <&gpio TEGRA_GPIO(Z, 3) GPIO_ACTIVE_HIGH>;
		enable-active-high;

		vin-supply = <&vdd_3v3_sys>;
	};

	vdd_hdmi: regulator-vdd-hdmi-5v0 {
		compatible = "regulator-fixed";

		regulator-name = "VDD_HDMI_5V0";
		regulator-min-microvolt = <5000000>;
		regulator-max-microvolt = <5000000>;

		vin-supply = <&vdd_5v0_sys>;
	};

	vdd_hub_3v3: regulator-vdd-hub-3v3 {
		compatible = "regulator-fixed";

		regulator-name = "VDD_HUB_3V3";
		regulator-min-microvolt = <3300000>;
		regulator-max-microvolt = <3300000>;

		gpio = <&gpio TEGRA_GPIO(A, 6) GPIO_ACTIVE_HIGH>;
		enable-active-high;

		vin-supply = <&vdd_5v0_sys>;
	};

	vdd_cpu: regulator-vdd-cpu {
		compatible = "regulator-fixed";

		regulator-name = "VDD_CPU";
		regulator-min-microvolt = <5000000>;
		regulator-max-microvolt = <5000000>;
		regulator-always-on;
		regulator-boot-on;

		gpio = <&pmic 5 GPIO_ACTIVE_HIGH>;
		enable-active-high;

		vin-supply = <&vdd_5v0_sys>;
	};

	vdd_gpu: regulator-vdd-gpu {
		compatible = "pwm-regulator";
		pwms = <&pwm 1 8000>;

		regulator-name = "VDD_GPU";
		regulator-min-microvolt = <710000>;
		regulator-max-microvolt = <1320000>;
		regulator-ramp-delay = <80>;
		regulator-enable-ramp-delay = <2000>;
		regulator-settling-time-us = <160>;

		enable-gpios = <&pmic 6 GPIO_ACTIVE_HIGH>;
		vin-supply = <&vdd_5v0_sys>;
	};

	avdd_io_edp_1v05: regulator-avdd-io-epd-1v05 {
		compatible = "regulator-fixed";

		regulator-name = "AVDD_IO_EDP_1V05";
		regulator-min-microvolt = <1050000>;
		regulator-max-microvolt = <1050000>;

		gpio = <&pmic 7 GPIO_ACTIVE_HIGH>;
		enable-active-high;

		vin-supply = <&avdd_1v05_pll>;
	};

	vdd_5v0_usb: regulator-vdd-5v-usb {
		compatible = "regulator-fixed";

		regulator-name = "VDD_5V_USB";
		regulator-min-microvolt = <50000000>;
		regulator-max-microvolt = <50000000>;

		vin-supply = <&vdd_5v0_sys>;
	};

	sound {
		compatible = "nvidia,tegra210-audio-graph-card";
		status = "okay";

		dais = /* FE */
		       <&admaif1_port>, <&admaif2_port>, <&admaif3_port>,
		       <&admaif4_port>, <&admaif5_port>, <&admaif6_port>,
		       <&admaif7_port>, <&admaif8_port>, <&admaif9_port>,
		       <&admaif10_port>,
		       /* Router */
		       <&xbar_i2s3_port>, <&xbar_i2s4_port>,
		       <&xbar_dmic1_port>, <&xbar_dmic2_port>,
		       <&xbar_sfc1_in_port>, <&xbar_sfc2_in_port>,
		       <&xbar_sfc3_in_port>, <&xbar_sfc4_in_port>,
		       <&xbar_mvc1_in_port>, <&xbar_mvc2_in_port>,
		       <&xbar_amx1_in1_port>, <&xbar_amx1_in2_port>,
		       <&xbar_amx1_in3_port>, <&xbar_amx1_in4_port>,
		       <&xbar_amx2_in1_port>, <&xbar_amx2_in2_port>,
		       <&xbar_amx2_in3_port>, <&xbar_amx2_in4_port>,
		       <&xbar_adx1_in_port>, <&xbar_adx2_in_port>,
		       <&xbar_mixer_in1_port>, <&xbar_mixer_in2_port>,
		       <&xbar_mixer_in3_port>, <&xbar_mixer_in4_port>,
		       <&xbar_mixer_in5_port>, <&xbar_mixer_in6_port>,
		       <&xbar_mixer_in7_port>, <&xbar_mixer_in8_port>,
		       <&xbar_mixer_in9_port>, <&xbar_mixer_in10_port>,
		       /* HW accelerators */
		       <&sfc1_out_port>, <&sfc2_out_port>,
		       <&sfc3_out_port>, <&sfc4_out_port>,
		       <&mvc1_out_port>, <&mvc2_out_port>,
		       <&amx1_out_port>, <&amx2_out_port>,
		       <&adx1_out1_port>, <&adx1_out2_port>,
		       <&adx1_out3_port>, <&adx1_out4_port>,
		       <&adx2_out1_port>, <&adx2_out2_port>,
		       <&adx2_out3_port>, <&adx2_out4_port>,
		       <&mixer_out1_port>, <&mixer_out2_port>,
		       <&mixer_out3_port>, <&mixer_out4_port>,
		       <&mixer_out5_port>,
		       /* I/O DAP Ports */
		       <&i2s3_port>, <&i2s4_port>,
		       <&dmic1_port>, <&dmic2_port>;

		label = "NVIDIA Jetson Nano APE";
	};
};
